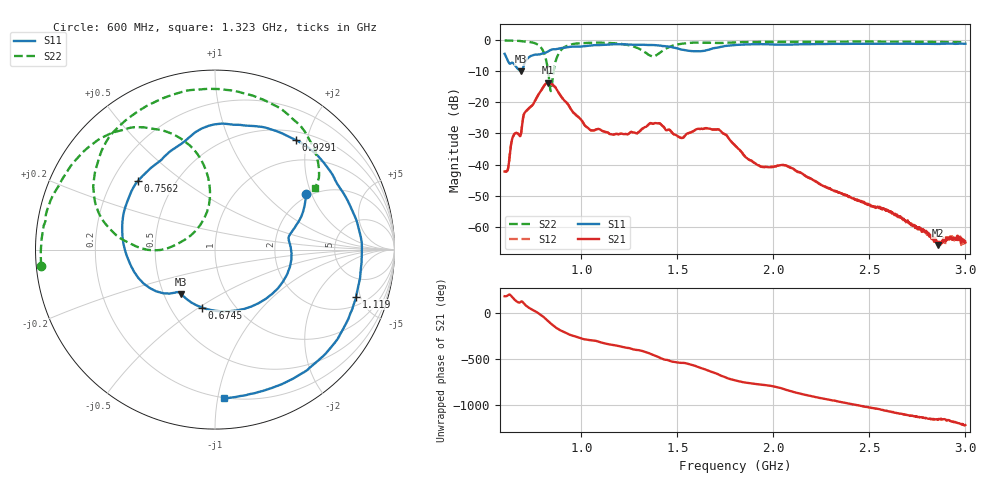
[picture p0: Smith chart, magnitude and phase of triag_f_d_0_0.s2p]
#  HZ  S  RI  R  50.00
! Rohde & Schwarz ZVB8 2Ports - Version 2.81 - 1145.1010k08 SN: 100113
! Date: 2016-05-03 01:37:40
! Measurements: S11 S21 S12 S22
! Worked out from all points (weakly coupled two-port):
!   1000 points, 600 MHz to 3 GHz, reference 50 ohm
!   highest |S21| = -13.76 dB at 825.8 MHz (marker M1); lowest = -65.7 dB at 2.856 GHz (marker M2)
!   lowest |S11| = -10.2 dB at 686.5 MHz (marker M3), VSWR 1.90, Z = 30.7 - j16.7 ohm
!   |S11| at or under -10 dB: 682.7 MHz to 690.9 MHz (8.186 MHz wide, 1.19 % of centre)
!   |S22| runs from -16.5 to -0.2 dB; largest |S21 - S12| = 0.0017
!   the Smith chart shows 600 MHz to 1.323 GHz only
!   S11 on the Smith chart (normalised r, x): 600 MHz: 1.90, +1.83; 674.5 MHz: 0.71, -0.52; 756.2 MHz: 0.31, +0.35; 929.1 MHz: 0.63, +1.80; 1.119 GHz: 2.74, -4.58; 1.323 GHz: 0.20, -1.04
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6e8  0.5072 0.3112  -0.00774 0.000452  -0.00772 0.000443  -0.9689 -0.0902
6.432432e8  0.4019 -0.1376  -0.026 0.0104  -0.0259 0.0102  -0.9579 0.114
6.744745e8  -0.0716 -0.3232  -0.00935 0.0286  -0.00933 0.0286  -0.9222 0.2579
6.864865e8  -0.1881 -0.2466  -0.0161 0.0287  -0.0164 0.0285  -0.8959 0.315
7.201201e8  -0.5027 0.00151  0.0366 0.0669  0.0364 0.0668  -0.8012 0.4693
7.561562e8  -0.4287 0.3832  0.0971 0.0321  0.0968 0.0328  -0.6214 0.6281
8.258258e8  -0.1349 0.6326  -0.00715 -0.205  -0.00677 -0.2048  -0.0278 0.3253
8.426426e8  -0.0379 0.6888  -0.1078 -0.1666  -0.1069 -0.167  -0.1345 0.0792
8.618619e8  0.0891 0.6974  -0.1609 -0.0742  -0.1603 -0.0744  -0.4095 0.00717
9.291291e8  0.4487 0.6113  -0.0582 0.0731  -0.0584 0.0727  -0.6609 0.4601
1.001201e9  0.7061 0.3288  0.0119 0.0497  0.0116 0.0496  -0.4444 0.7597
1.118919e9  0.786 -0.2619  0.0301 0.0152  0.0301 0.0152  0.0462 0.8923
1.323123e9  0.0515 -0.828  0.0183 -0.0339  0.0184 -0.0338  0.5576 0.3417
1.4e9  -0.2882 -0.7578  -0.0246 -0.0388  -0.0245 -0.0389  0.4605 0.3684
1.570571e9  -0.5811 -0.31  -0.0296 0.0146  -0.0295 0.0145  0.8902 -0.0695
1.801201e9  -0.7808 0.2599  0.0192 -0.00593  0.0192 -0.00583  0.4818 -0.7656
2.000601e9  -0.2598 0.7962  0.00128 -0.0092  0.00139 -0.00916  -0.1323 -0.9168
2.2e9  0.4716 0.7064  -0.00579 0.000915  -0.00574 0.000869  -0.6321 -0.6826
2.401802e9  0.8603 -0.0152  0.000155 0.00303  0.000105 0.00298  -0.8942 -0.2586
2.601201e9  0.4722 -0.7198  0.00182 0.000212  0.00176 0.000216  -0.9095 0.194
2.855856e9  -0.4357 -0.7364  0.000117 -0.000504  8.51e-05 -0.000517  -0.6138 0.6854
3e9  -0.7766 -0.3741  -0.000448 -0.000349  -0.000433 -0.00048  -0.329 0.8516
